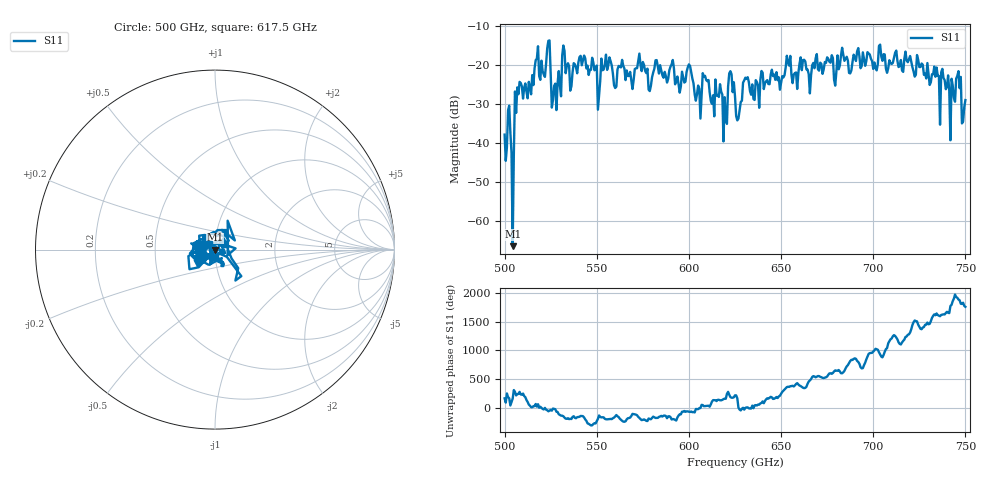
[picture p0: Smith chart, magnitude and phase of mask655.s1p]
!Created with skrf (http://scikit-rf.org).
# GHz S MA R 50.0
!freq magS11 angS11
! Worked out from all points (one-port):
!   401 points, 500 GHz to 750 GHz, reference 50 ohm
!   lowest |S11| = -66.3 dB at 504.4 GHz (marker M1), VSWR 1.00, Z = 50 + j0.0141 ohm
!   |S11| at or under -10 dB: start of sweep to end of sweep
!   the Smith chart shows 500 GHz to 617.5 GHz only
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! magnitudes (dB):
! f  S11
! 500 GHz  -37.7
! 502.5 GHz  -30.3
! 504.4 GHz  -66.3
! 506.9 GHz  -25.7
! 508.1 GHz  -24.2
! 523.8 GHz  -13.7
! 526.9 GHz  -25.3
! 531.2 GHz  -17.4
! 542.5 GHz  -18.7
! 550.6 GHz  -31.4
! 562.5 GHz  -20.3
! 579.4 GHz  -25.2
! 590.6 GHz  -19.7
! 593.8 GHz  -22.9
! 600 GHz  -19.8
! 605 GHz  -25.2
! 608.8 GHz  -22.7
! 619.4 GHz  -28.2
! 623.1 GHz  -22.3
! 625 GHz  -27.9
! 626.9 GHz  -33.6
! 630.6 GHz  -23.2
! 656.2 GHz  -24.6
! 687.5 GHz  -22.1
! 718.8 GHz  -19.2
! 743.1 GHz  -25.1
! 746.2 GHz  -21.5
! 750 GHz  -28.9
